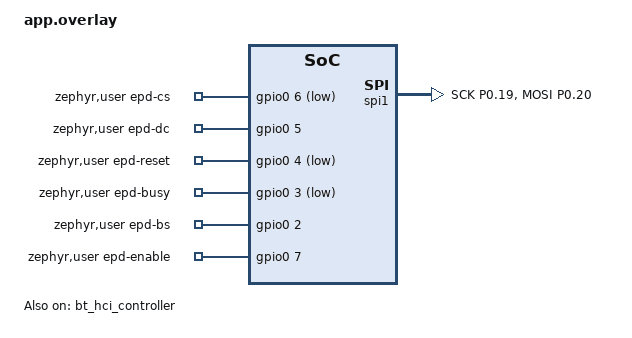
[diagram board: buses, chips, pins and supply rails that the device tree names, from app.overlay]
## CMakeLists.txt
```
cmake_minimum_required(VERSION 3.20.0)
find_package(Zephyr REQUIRED HINTS $ENV{ZEPHYR_BASE})
project(nrf_epd_minimal_draw)

target_sources(app PRIVATE src/main.c)
```

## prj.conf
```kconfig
# nRF Connect SDK v3.4.0 / Zephyr 4.4
# Minimal image-transfer firmware for nRF52811 + UC8179.

# Bluetooth Peripheral + GATT server only. The Central initiates ATT MTU exchange.
CONFIG_BT=y
CONFIG_BT_PERIPHERAL=y
CONFIG_BT_GATT_CLIENT=n
CONFIG_BT_SMP=n
CONFIG_BT_SETTINGS=n
CONFIG_BT_MAX_CONN=1
CONFIG_BT_DEVICE_NAME="NRF_EPD_3C1D"

# Fixed GATT database: no bonding/settings and no Service Changed machinery needed.
CONFIG_BT_GATT_SERVICE_CHANGED=n
CONFIG_BT_GATT_CACHING=n

# Use Zephyr's lower-memory controller instead of the default SoftDevice Controller.
# app.overlay enables bt_hci_controller, makes it zephyr,bt-hci, and disables bt_hci_sdc.
CONFIG_BT_LL_SW_SPLIT=y
CONFIG_BT_CTLR_HCI=y

# Accept ATT MTU 247 so the existing protocol keeps a 244-byte GATT payload.
# RX_COUNT_EXTRA=1 is the minimum allowed with one connection and is required for
# L2CAP recombination. Keep the large RX buffer, but trim unrelated HCI event buffers.
CONFIG_BT_BUF_ACL_RX_SIZE=251
CONFIG_BT_BUF_ACL_RX_COUNT_EXTRA=1
CONFIG_BT_L2CAP_TX_MTU=247
CONFIG_BT_BUF_EVT_RX_COUNT=4

# E-paper hardware.
CONFIG_GPIO=y
CONFIG_SPI=y

# Footprint: no console/logging/security/settings, no MPU, minimal C library.
CONFIG_SIZE_OPTIMIZATIONS=y
CONFIG_MINIMAL_LIBC=y
CONFIG_ARM_MPU=n
CONFIG_LOG=n
CONFIG_CONSOLE=n
CONFIG_UART_CONSOLE=n
CONFIG_SERIAL=n
CONFIG_BOOT_BANNER=n
CONFIG_ASSERT=n
CONFIG_MAIN_STACK_SIZE=768
CONFIG_SYSTEM_WORKQUEUE_STACK_SIZE=768
CONFIG_HEAP_MEM_POOL_SIZE=0
```

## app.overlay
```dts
#include <zephyr/dt-bindings/gpio/gpio.h>
#include <zephyr/dt-bindings/pinctrl/nrf-pinctrl.h>

/ {
	chosen {
		/* Build a standalone image at flash offset 0 for first SWD bring-up. */
		/delete-property/ zephyr,code-partition;
		/delete-property/ zephyr,console;
		/delete-property/ zephyr,shell-uart;
		/delete-property/ zephyr,uart-mcumgr;
		/delete-property/ zephyr,bt-mon-uart;
		/delete-property/ zephyr,bt-c2h-uart;

		/* nRF52811.dtsi points this at bt_hci_sdc by default. */
		zephyr,bt-hci = &bt_hci_controller;
	};

	zephyr,user {
		epd-cs-gpios = <&gpio0 6 GPIO_ACTIVE_LOW>;
		epd-dc-gpios = <&gpio0 5 GPIO_ACTIVE_HIGH>;
		epd-reset-gpios = <&gpio0 4 GPIO_ACTIVE_LOW>;
		/* Existing firmware waits while the physical BUSY line is low. */
		epd-busy-gpios = <&gpio0 3 GPIO_ACTIVE_LOW>;
		epd-bs-gpios = <&gpio0 2 GPIO_ACTIVE_HIGH>;
		epd-enable-gpios = <&gpio0 7 GPIO_ACTIVE_HIGH>;
	};
};

&pinctrl {
	epd_spi_default: epd_spi_default {
		group1 {
			psels = <NRF_PSEL(SPIM_SCK, 0, 19)>,
				<NRF_PSEL(SPIM_MOSI, 0, 20)>,
				<NRF_PSEL_DISCONNECTED(SPIM_MISO)>;
		};
	};

	epd_spi_sleep: epd_spi_sleep {
		group1 {
			psels = <NRF_PSEL(SPIM_SCK, 0, 19)>,
				<NRF_PSEL(SPIM_MOSI, 0, 20)>,
				<NRF_PSEL_DISCONNECTED(SPIM_MISO)>;
			low-power-enable;
		};
	};
};

&uart0 {
	status = "disabled";
};

&i2c0 {
	status = "disabled";
};

&pwm0 {
	status = "disabled";
};

&spi0 {
	status = "disabled";
};

&spi1 {
	compatible = "nordic,nrf-spi";
	status = "okay";
	pinctrl-0 = <&epd_spi_default>;
	pinctrl-1 = <&epd_spi_sleep>;
	pinctrl-names = "default", "sleep";
};

/* nRF52811 defaults to Nordic's SoftDevice Controller in NCS 3.4.
 * The Zephyr split Link Layer uses less RAM, which matters on the 24 KiB part.
 */
&bt_hci_sdc {
	status = "disabled";
};

&bt_hci_controller {
	status = "okay";
};
```

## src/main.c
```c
#include <errno.h>
#include <stddef.h>
#include <stdint.h>
#include <string.h>

#include <zephyr/bluetooth/bluetooth.h>
#include <zephyr/bluetooth/conn.h>
#include <zephyr/bluetooth/gatt.h>
#include <zephyr/bluetooth/uuid.h>
#include <zephyr/device.h>
#include <zephyr/drivers/gpio.h>
#include <zephyr/drivers/spi.h>
#include <zephyr/kernel.h>
#include <zephyr/sys/byteorder.h>
#include <zephyr/sys/util.h>

#define EPD_WIDTH 800U
#define EPD_HEIGHT 480U
#define EPD_APP_VERSION 0x21U

#define EPD_MAX_BLOCKS 512U
#define EPD_BLOCK_BITMAP_SIZE 64U

#define EPD_CMD_INIT 0x01U
#define EPD_CMD_REFRESH 0x05U
#define EPD_CMD_SLEEP 0x06U
#define EPD_CMD_WRITE_BLOCK 0x31U
#define EPD_CMD_QUERY_STATUS 0x32U
#define EPD_CMD_RESET_TRANSFER 0x33U

#define EPD_RSP_BLOCK_ACK 0xA0U
#define EPD_RSP_STATUS 0xA1U

#define UC81XX_PSR 0x00U
#define UC81XX_POF 0x02U
#define UC81XX_PON 0x04U
#define UC81XX_DSLP 0x07U
#define UC81XX_DTM1 0x10U
#define UC81XX_DRF 0x12U
#define UC81XX_DTM2 0x13U
#define UC81XX_CDI 0x50U
#define UC81XX_PTL 0x90U

#define EPD_SPI_FREQUENCY 4000000U

#define BT_UUID_EPD_SERVICE_VAL \
	BT_UUID_128_ENCODE(0x62750001, 0xd828, 0x918d, 0xfb46, 0xb6c11c675aecULL)
#define BT_UUID_EPD_CHAR_VAL \
	BT_UUID_128_ENCODE(0x62750002, 0xd828, 0x918d, 0xfb46, 0xb6c11c675aecULL)
#define BT_UUID_EPD_VERSION_VAL \
	BT_UUID_128_ENCODE(0x62750003, 0xd828, 0x918d, 0xfb46, 0xb6c11c675aecULL)

static const struct bt_uuid_128 epd_service_uuid = BT_UUID_INIT_128(BT_UUID_EPD_SERVICE_VAL);
static const struct bt_uuid_128 epd_char_uuid = BT_UUID_INIT_128(BT_UUID_EPD_CHAR_VAL);
static const struct bt_uuid_128 epd_version_uuid = BT_UUID_INIT_128(BT_UUID_EPD_VERSION_VAL);

/* Keep the existing browser/ESP configuration payload byte-for-byte compatible. */
static const uint8_t epd_config[] = {
	0x14, 0x13, 0x06, 0x05, 0x04, 0x03, 0x02,
	0x07, 0xff, 0x12, 0x07, 0x01, 0x01, 0x00,
};

static const uint8_t epd_app_version = EPD_APP_VERSION;

struct transfer_context {
	uint8_t session_id;
	uint16_t total_blocks;
	uint16_t received_blocks;
	uint8_t block_bitmap[EPD_BLOCK_BITMAP_SIZE];
	bool active;
};

static struct transfer_context transfer_ctx;
static bool panel_initialized;

#define USER_NODE DT_PATH(zephyr_user)

static const struct gpio_dt_spec epd_cs = GPIO_DT_SPEC_GET(USER_NODE, epd_cs_gpios);
static const struct gpio_dt_spec epd_dc = GPIO_DT_SPEC_GET(USER_NODE, epd_dc_gpios);
static const struct gpio_dt_spec epd_reset = GPIO_DT_SPEC_GET(USER_NODE, epd_reset_gpios);
static const struct gpio_dt_spec epd_busy = GPIO_DT_SPEC_GET(USER_NODE, epd_busy_gpios);
static const struct gpio_dt_spec epd_bs = GPIO_DT_SPEC_GET(USER_NODE, epd_bs_gpios);
static const struct gpio_dt_spec epd_enable = GPIO_DT_SPEC_GET(USER_NODE, epd_enable_gpios);

static const struct device *const epd_spi = DEVICE_DT_GET(DT_NODELABEL(spi1));
static const struct spi_config epd_spi_cfg = {
	.frequency = EPD_SPI_FREQUENCY,
	.operation = SPI_OP_MODE_MASTER | SPI_WORD_SET(8),
	.slave = 0,
};

K_SEM_DEFINE(refresh_sem, 0, 1);

static int notify_payload(const void *data, uint16_t len);
static void handle_command(struct bt_conn *conn, const uint8_t *data, uint16_t len);

static int epd_spi_write(const uint8_t *data, size_t len)
{
	struct spi_buf buf = {
		.buf = (void *)data,
		.len = len,
	};
	const struct spi_buf_set tx = {
		.buffers = &buf,
		.count = 1,
	};

	int err = gpio_pin_set_dt(&epd_cs, 1);
	if (err != 0) {
		return err;
	}

	err = spi_write(epd_spi, &epd_spi_cfg, &tx);
	(void)gpio_pin_set_dt(&epd_cs, 0);
	return err;
}

static int epd_write_cmd(uint8_t cmd)
{
	int err = gpio_pin_set_dt(&epd_dc, 0);
	if (err != 0) {
		return err;
	}
	return epd_spi_write(&cmd, sizeof(cmd));
}

static int epd_write_data(const uint8_t *data, size_t len)
{
	int err = gpio_pin_set_dt(&epd_dc, 1);
	if (err != 0) {
		return err;
	}
	return epd_spi_write(data, len);
}

static int epd_write_cmd_data(uint8_t cmd, const uint8_t *data, size_t len)
{
	int err = epd_write_cmd(cmd);
	if (err != 0 || len == 0U) {
		return err;
	}
	return epd_write_data(data, len);
}

static int epd_wait_ready(uint32_t timeout_ms)
{
	const int64_t deadline = k_uptime_get() + (int64_t)timeout_ms;

	for (;;) {
		int busy = gpio_pin_get_dt(&epd_busy);
		if (busy < 0) {
			return busy;
		}
		if (busy == 0) {
			return 0;
		}
		if (k_uptime_get() >= deadline) {
			return -ETIMEDOUT;
		}
		k_msleep(1);
	}
}

static int epd_reset_panel(void)
{
	int err = gpio_pin_set_dt(&epd_reset, 0); /* physical HIGH */
	if (err != 0) {
		return err;
	}
	k_msleep(10);

	err = gpio_pin_set_dt(&epd_reset, 1); /* physical LOW */
	if (err != 0) {
		return err;
	}
	k_msleep(10);

	err = gpio_pin_set_dt(&epd_reset, 0); /* physical HIGH */
	k_msleep(10);
	return err;
}

static int epd_panel_init(void)
{
	static const uint8_t psr = 0x0f;
	static const uint8_t cdi = 0x77;

	int err = epd_reset_panel();
	if (err != 0) {
		return err;
	}

	err = epd_write_cmd_data(UC81XX_PSR, &psr, sizeof(psr));
	if (err != 0) {
		return err;
	}

	err = epd_write_cmd_data(UC81XX_CDI, &cdi, sizeof(cdi));
	if (err == 0) {
		panel_initialized = true;
	}
	return err;
}

static int epd_power_on(void)
{
	int err = epd_write_cmd(UC81XX_PON);
	if (err != 0) {
		return err;
	}
	return epd_wait_ready(200);
}

static int epd_power_off(void)
{
	int err = epd_write_cmd(UC81XX_POF);
	if (err != 0) {
		return err;
	}
	return epd_wait_ready(200);
}

static int epd_set_full_area(void)
{
	/* x: 0..799, y: 0..479, byte-aligned, normal scan. */
	static const uint8_t area[] = {
		0x00, 0x00,
		0x03, 0x1f,
		0x00, 0x00,
		0x01, 0xdf,
		0x00,
	};

	return epd_write_cmd_data(UC81XX_PTL, area, sizeof(area));
}

static int epd_refresh(void)
{
	if (!panel_initialized) {
		return -EACCES;
	}

	int err = epd_power_on();
	if (err != 0) {
		return err;
	}

	err = epd_set_full_area();
	if (err != 0) {
		return err;
	}

	err = epd_write_cmd(UC81XX_DRF);
	if (err != 0) {
		return err;
	}

	k_msleep(100);
	err = epd_wait_ready(30000);
	if (err != 0) {
		return err;
	}

	return epd_power_off();
}

static int epd_sleep(void)
{
	static const uint8_t key = 0xa5;

	if (!panel_initialized) {
		return -EACCES;
	}

	int err = epd_power_off();
	if (err != 0) {
		return err;
	}
	k_msleep(100);
	return epd_write_cmd_data(UC81XX_DSLP, &key, sizeof(key));
}

static int epd_write_ram(uint8_t cfg, const uint8_t *data, size_t len)
{
	if (!panel_initialized) {
		return -EACCES;
	}

	const bool begin = (cfg >> 4) == 0U;
	const bool black = (cfg & 0x0fU) == 0x0fU;

	if (begin) {
		int err = epd_write_cmd(black ? UC81XX_DTM1 : UC81XX_DTM2);
		if (err != 0) {
			return err;
		}
	}

	return epd_write_data(data, len);
}

static int epd_io_init(void)
{
	if (!device_is_ready(epd_spi) ||
	    !gpio_is_ready_dt(&epd_cs) ||
	    !gpio_is_ready_dt(&epd_dc) ||
	    !gpio_is_ready_dt(&epd_reset) ||
	    !gpio_is_ready_dt(&epd_busy) ||
	    !gpio_is_ready_dt(&epd_bs) ||
	    !gpio_is_ready_dt(&epd_enable)) {
		return -ENODEV;
	}

	int err = gpio_pin_configure_dt(&epd_cs, GPIO_OUTPUT_INACTIVE);
	if (err != 0) {
		return err;
	}
	err = gpio_pin_configure_dt(&epd_dc, GPIO_OUTPUT_INACTIVE);
	if (err != 0) {
		return err;
	}
	err = gpio_pin_configure_dt(&epd_reset, GPIO_OUTPUT_INACTIVE);
	if (err != 0) {
		return err;
	}
	err = gpio_pin_configure_dt(&epd_busy, GPIO_INPUT);
	if (err != 0) {
		return err;
	}
	err = gpio_pin_configure_dt(&epd_bs, GPIO_OUTPUT_INACTIVE);
	if (err != 0) {
		return err;
	}
	return gpio_pin_configure_dt(&epd_enable, GPIO_OUTPUT_ACTIVE);
}

static uint16_t crc16_compute(const uint8_t *data, size_t len)
{
	uint16_t crc = 0xffffU;

	for (size_t i = 0; i < len; ++i) {
		crc ^= data[i];
		for (uint8_t bit = 0; bit < 8U; ++bit) {
			crc = (crc & 1U) ? (uint16_t)((crc >> 1) ^ 0x8408U) : (uint16_t)(crc >> 1);
		}
	}

	return crc;
}

static size_t u32_to_dec(char *dst, uint32_t value)
{
	char reversed[10];
	size_t count = 0;

	do {
		reversed[count++] = (char)('0' + (value % 10U));
		value /= 10U;
	} while (value != 0U);

	for (size_t i = 0; i < count; ++i) {
		dst[i] = reversed[count - 1U - i];
	}
	return count;
}

static void send_mtu(struct bt_conn *conn)
{
	char msg[10] = {'m', 't', 'u', '='};
	uint16_t mtu = bt_gatt_get_mtu(conn);
	uint32_t payload = (mtu >= 3U) ? (uint32_t)(mtu - 3U) : 0U;
	size_t len = 4U + u32_to_dec(&msg[4], payload);
	(void)notify_payload(msg, (uint16_t)len);
}

static void send_time_stub(void)
{
	static const char msg[] = "t=0";
	(void)notify_payload(msg, sizeof(msg) - 1U);
}

static void send_block_response(uint16_t block_id, uint8_t status)
{
	uint8_t response[4] = {
		EPD_RSP_BLOCK_ACK,
		(uint8_t)(block_id & 0xffU),
		(uint8_t)(block_id >> 8),
		status,
	};
	(void)notify_payload(response, sizeof(response));
}

static void send_transfer_status(void)
{
	uint8_t response[7U + EPD_BLOCK_BITMAP_SIZE];
	uint16_t bitmap_len = (uint16_t)((transfer_ctx.total_blocks + 7U) / 8U);
	bitmap_len = MIN(bitmap_len, (uint16_t)EPD_BLOCK_BITMAP_SIZE);

	response[0] = EPD_RSP_STATUS;
	sys_put_le16(transfer_ctx.total_blocks, &response[1]);
	sys_put_le16(transfer_ctx.received_blocks, &response[3]);
	response[5] = transfer_ctx.session_id;
	response[6] = transfer_ctx.active ? 1U : 0U;
	memcpy(&response[7], transfer_ctx.block_bitmap, bitmap_len);
	(void)notify_payload(response, (uint16_t)(7U + bitmap_len));
}

static void reset_transfer(uint8_t session_id)
{
	memset(&transfer_ctx, 0, sizeof(transfer_ctx));
	transfer_ctx.session_id = session_id;
}

static void handle_write_block(const uint8_t *data, uint16_t len)
{
	if (len < 8U || !panel_initialized) {
		return;
	}

	const uint16_t block_id = sys_get_le16(&data[1]);
	const uint16_t total_blocks = sys_get_le16(&data[3]);
	const uint8_t cfg = data[5];
	const uint16_t payload_len = (uint16_t)(len - 8U);
	const uint8_t *payload = &data[6];
	const uint16_t recv_crc = sys_get_le16(&data[len - 2U]);

	if (crc16_compute(payload, payload_len) != recv_crc) {
		send_block_response(block_id, 0x01U);
		return;
	}

	if (total_blocks == 0U || total_blocks > EPD_MAX_BLOCKS ||
	    block_id >= total_blocks || block_id >= EPD_MAX_BLOCKS) {
		send_block_response(block_id, 0x02U);
		return;
	}

	if (block_id == 0U || !transfer_ctx.active) {
		transfer_ctx.total_blocks = total_blocks;
		transfer_ctx.received_blocks = 0U;
		memset(transfer_ctx.block_bitmap, 0, sizeof(transfer_ctx.block_bitmap));
		transfer_ctx.active = true;
	} else if (transfer_ctx.total_blocks != total_blocks) {
		transfer_ctx.total_blocks = total_blocks;
		transfer_ctx.received_blocks = 0U;
		memset(transfer_ctx.block_bitmap, 0, sizeof(transfer_ctx.block_bitmap));
	}

	const uint16_t byte_index = block_id / 8U;
	const uint8_t bit_mask = (uint8_t)BIT(block_id % 8U);

	if ((transfer_ctx.block_bitmap[byte_index] & bit_mask) == 0U) {
		if (epd_write_ram(cfg, payload, payload_len) != 0) {
			send_block_response(block_id, 0x02U);
			return;
		}

		transfer_ctx.block_bitmap[byte_index] |= bit_mask;
		transfer_ctx.received_blocks++;
	}

	send_block_response(block_id, 0x00U);
}

static ssize_t read_version(struct bt_conn *conn, const struct bt_gatt_attr *attr,
			    void *buf, uint16_t len, uint16_t offset)
{
	return bt_gatt_attr_read(conn, attr, buf, len, offset,
				 &epd_app_version, sizeof(epd_app_version));
}

static ssize_t write_epd(struct bt_conn *conn, const struct bt_gatt_attr *attr,
			 const void *buf, uint16_t len, uint16_t offset, uint8_t flags)
{
	ARG_UNUSED(attr);
	ARG_UNUSED(flags);

	if (offset != 0U) {
		return BT_GATT_ERR(BT_ATT_ERR_INVALID_OFFSET);
	}
	if (len == 0U) {
		return 0;
	}

	handle_command(conn, buf, len);
	return len;
}

static void ccc_changed(const struct bt_gatt_attr *attr, uint16_t value)
{
	ARG_UNUSED(attr);

	if (value == BT_GATT_CCC_NOTIFY) {
		(void)notify_payload(epd_config, sizeof(epd_config));
	}
}

BT_GATT_SERVICE_DEFINE(epd_svc,
	BT_GATT_PRIMARY_SERVICE(&epd_service_uuid),
	BT_GATT_CHARACTERISTIC(&epd_char_uuid.uuid,
		BT_GATT_CHRC_WRITE | BT_GATT_CHRC_WRITE_WITHOUT_RESP | BT_GATT_CHRC_NOTIFY,
		BT_GATT_PERM_WRITE, NULL, write_epd, NULL),
	BT_GATT_CCC(ccc_changed, BT_GATT_PERM_READ | BT_GATT_PERM_WRITE),
	BT_GATT_CHARACTERISTIC(&epd_version_uuid.uuid,
		BT_GATT_CHRC_READ, BT_GATT_PERM_READ, read_version, NULL, NULL)
);

static int notify_payload(const void *data, uint16_t len)
{
	/* Attribute 2 is the value attribute of UUID ...0002. */
	return bt_gatt_notify(NULL, &epd_svc.attrs[2], data, len);
}

static void handle_command(struct bt_conn *conn, const uint8_t *data, uint16_t len)
{
	switch (data[0]) {
	case EPD_CMD_INIT:
		if (epd_panel_init() == 0) {
			send_mtu(conn);
			send_time_stub();
		}
		break;

	case EPD_CMD_REFRESH:
		if (panel_initialized) {
			k_sem_give(&refresh_sem);
		}
		break;

	case EPD_CMD_SLEEP:
		(void)epd_sleep();
		break;

	case EPD_CMD_WRITE_BLOCK:
		handle_write_block(data, len);
		break;

	case EPD_CMD_QUERY_STATUS:
		send_transfer_status();
		break;

	case EPD_CMD_RESET_TRANSFER:
		reset_transfer((len > 1U) ? data[1] : 0U);
		break;

	default:
		break;
	}
}

static const struct bt_data advertising_data[] = {
	BT_DATA_BYTES(BT_DATA_FLAGS, BT_LE_AD_GENERAL | BT_LE_AD_NO_BREDR),
	BT_DATA(BT_DATA_NAME_COMPLETE, CONFIG_BT_DEVICE_NAME, sizeof(CONFIG_BT_DEVICE_NAME) - 1U),
};

static const struct bt_data scan_response_data[] = {
	BT_DATA_BYTES(BT_DATA_UUID128_ALL, BT_UUID_EPD_SERVICE_VAL),
};

static int start_advertising(void)
{
	return bt_le_adv_start(BT_LE_ADV_CONN_FAST_1,
			       advertising_data, ARRAY_SIZE(advertising_data),
			       scan_response_data, ARRAY_SIZE(scan_response_data));
}

static void disconnected(struct bt_conn *conn, uint8_t reason)
{
	ARG_UNUSED(conn);
	ARG_UNUSED(reason);
	(void)start_advertising();
}

BT_CONN_CB_DEFINE(conn_callbacks) = {
	.disconnected = disconnected,
};

int main(void)
{
	if (epd_io_init() != 0) {
		return 0;
	}

	if (bt_enable(NULL) != 0) {
		return 0;
	}

	if (start_advertising() != 0) {
		return 0;
	}

	for (;;) {
		k_sem_take(&refresh_sem, K_FOREVER);
		(void)epd_refresh();
	}

	return 0;
}
```
